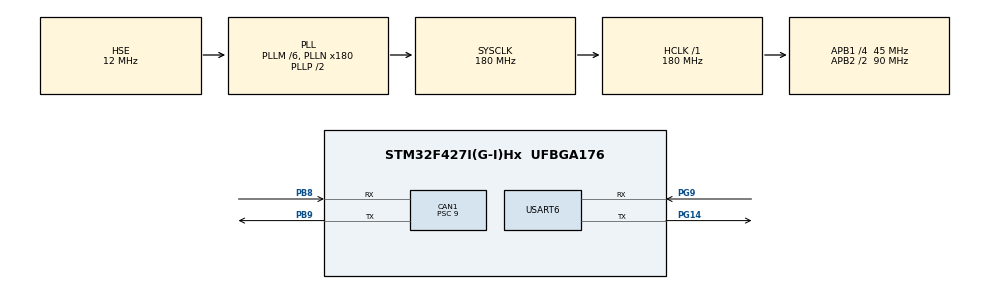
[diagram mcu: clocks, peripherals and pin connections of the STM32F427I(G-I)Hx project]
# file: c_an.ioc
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CAN1.BS1=CAN_BS1_3TQ
CAN1.BS2=CAN_BS2_1TQ
CAN1.CalculateBaudRate=1000000
CAN1.CalculateTimeBit=1000.00
CAN1.CalculateTimeQuantum=200.0
CAN1.Prescaler=9
Mcu.Family=STM32F4
Mcu.Name=STM32F427I(G-I)Hx
Mcu.Package=UFBGA176
NVIC.CAN1_RX0_IRQn=true\:0\:0\:false\:false\:true\:true\:true
NVIC.CAN1_TX_IRQn=true\:0\:0\:false\:false\:true\:true\:true
NVIC.PriorityGroup=NVIC_PRIORITYGROUP_4
PA13.Mode=Serial_Wire
PA13.Signal=SYS_JTMS-SWDIO
PA14.Mode=Serial_Wire
PA14.Signal=SYS_JTCK-SWCLK
PB8.Mode=CAN_Activate
PB8.Signal=CAN1_RX
PB9.Mode=CAN_Activate
PB9.Signal=CAN1_TX
PG14.Mode=Asynchronous
PG14.Signal=USART6_TX
PG9.Mode=Asynchronous
PG9.Signal=USART6_RX
PH0/OSC_IN.Mode=HSE-External-Oscillator
PH0/OSC_IN.Signal=RCC_OSC_IN
PH1/OSC_OUT.Mode=HSE-External-Oscillator
PH1/OSC_OUT.Signal=RCC_OSC_OUT
ProjectManager.HeapSize=0x200
ProjectManager.StackSize=0x400
ProjectManager.TargetToolchain=MDK-ARM V5.27
RCC.48MHZClocksFreq_Value=90000000
RCC.AHBFreq_Value=180000000
RCC.APB1CLKDivider=RCC_HCLK_DIV4
RCC.APB1Freq_Value=45000000
RCC.APB1TimFreq_Value=90000000
RCC.APB2CLKDivider=RCC_HCLK_DIV2
RCC.APB2Freq_Value=90000000
RCC.APB2TimFreq_Value=180000000
RCC.CortexFreq_Value=180000000
RCC.HCLKFreq_Value=180000000
RCC.HSE_VALUE=12000000
RCC.HSI_VALUE=16000000
RCC.LSE_VALUE=32768
RCC.PLLM=6
RCC.PLLN=180
RCC.PLLSourceVirtual=RCC_PLLSOURCE_HSE
RCC.SYSCLKFreq_VALUE=180000000
RCC.SYSCLKSource=RCC_SYSCLKSOURCE_PLLCLK
RCC.VCOOutputFreq_Value=360000000
USART6.VirtualMode=VM_ASYNC
board=custom

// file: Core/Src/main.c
/* USER CODE BEGIN Header */
/**
  ******************************************************************************
  * @file           : main.c
  * @brief          : Main program body
  ******************************************************************************
  * @attention
  *
  * <h2><center>&copy; Copyright (c) 2021 STMicroelectronics.
  * All rights reserved.</center></h2>
  *
  * This software component is licensed by ST under BSD 3-Clause license,
  * the "License"; You may not use this file except in compliance with the
  * License. You may obtain a copy of the License at:
  *                        opensource.org/licenses/BSD-3-Clause
  *
  ******************************************************************************
  */
/* USER CODE END Header */
#include "main.h"
#include "can.h"
#include "usart.h"
#include "gpio.h"

/* USER CODE BEGIN Includes */
#include "stdio.h"
/* USER CODE END Includes */

void SystemClock_Config(void);

int main(void)
{
  /* USER CODE BEGIN 1 */
	CAN_TxHeaderTypeDef Can_Tx;
	CAN_RxHeaderTypeDef Can_Rx;
	uint8_t tdata[8] = {0x00,0x11,0x22,0x33,0x44,0x55,0x66,0x77};
	uint8_t adata[8] = {0};
	uint32_t pTxMailbox = 0;
	Can_Tx.StdId = 0x123;
	Can_Tx.ExtId = 0x123;
	Can_Tx.IDE = 0;
	Can_Tx.RTR = 0;
	Can_Tx.DLC = 8;

	Can_Rx.StdId = 0x321;
	Can_Rx.ExtId = 0x321;
	Can_Rx.IDE = 0;
	Can_Rx.RTR = 0;
	Can_Rx.DLC = 8;
  /* USER CODE END 1 */

  /* MCU Configuration--------------------------------------------------------*/

  /* Reset of all peripherals, Initializes the Flash interface and the Systick. */
  HAL_Init();

  /* Configure the system clock */
  SystemClock_Config();

  /* Initialize all configured peripherals */
  MX_GPIO_Init();
  MX_CAN1_Init();
  MX_USART6_UART_Init();
  /* USER CODE BEGIN 2 */
	HAL_UART_MspInit(&huart6);
	HAL_CAN_MspInit(&hcan1);
	HAL_CAN_Start(&hcan1);
  /* USER CODE END 2 */

  /* Infinite loop */
  while (1)
  {

    /* USER CODE BEGIN 3 */
		HAL_CAN_AddTxMessage(&hcan1, &Can_Tx, tdata, &pTxMailbox);
		HAL_CAN_GetRxMessage(&hcan1, CAN_RX_FIFO0, &Can_Rx, adata);
		HAL_UART_Transmit(&huart6, adata, 8, 1000);
		printf("Rx Data: %02X%02X%02X%02X%02X%02X%02X%02X",adata[0],adata[1],adata[2],adata[3],adata[4],adata[5],adata[6],adata[7]);
		HAL_Delay(500);
  }
  /* USER CODE END 3 */
}

void SystemClock_Config(void)
{
  RCC_OscInitTypeDef RCC_OscInitStruct = {0};
  RCC_ClkInitTypeDef RCC_ClkInitStruct = {0};

  /** Configure the main internal regulator output voltage
  */
  __HAL_RCC_PWR_CLK_ENABLE();
  __HAL_PWR_VOLTAGESCALING_CONFIG(PWR_REGULATOR_VOLTAGE_SCALE1);
  /** Initializes the RCC Oscillators according to the specified parameters
  * in the RCC_OscInitTypeDef structure.
  */
  RCC_OscInitStruct.OscillatorType = RCC_OSCILLATORTYPE_HSE;
  RCC_OscInitStruct.HSEState = RCC_HSE_ON;
  RCC_OscInitStruct.PLL.PLLState = RCC_PLL_ON;
  RCC_OscInitStruct.PLL.PLLSource = RCC_PLLSOURCE_HSE;
  RCC_OscInitStruct.PLL.PLLM = 6;
  RCC_OscInitStruct.PLL.PLLN = 180;
  RCC_OscInitStruct.PLL.PLLP = RCC_PLLP_DIV2;
  RCC_OscInitStruct.PLL.PLLQ = 4;
  if (HAL_RCC_OscConfig(&RCC_OscInitStruct) != HAL_OK)
  {
    Error_Handler();
  }
  /** Activate the Over-Drive mode
  */
  if (HAL_PWREx_EnableOverDrive() != HAL_OK)
  {
    Error_Handler();
  }
  /** Initializes the CPU, AHB and APB buses clocks
  */
  RCC_ClkInitStruct.ClockType = RCC_CLOCKTYPE_HCLK|RCC_CLOCKTYPE_SYSCLK
                              |RCC_CLOCKTYPE_PCLK1|RCC_CLOCKTYPE_PCLK2;
  RCC_ClkInitStruct.SYSCLKSource = RCC_SYSCLKSOURCE_PLLCLK;
  RCC_ClkInitStruct.AHBCLKDivider = RCC_SYSCLK_DIV1;
  RCC_ClkInitStruct.APB1CLKDivider = RCC_HCLK_DIV4;
  RCC_ClkInitStruct.APB2CLKDivider = RCC_HCLK_DIV2;

  if (HAL_RCC_ClockConfig(&RCC_ClkInitStruct, FLASH_LATENCY_5) != HAL_OK)
  {
    Error_Handler();
  }
}

/* USER CODE BEGIN 4 */
int fputc(int ch, FILE *f)
{
	HAL_UART_Transmit(&huart6,(uint8_t *)&ch,1,HAL_MAX_DELAY);
	return ch;
}
/* USER CODE END 4 */

void Error_Handler(void)
{
  __disable_irq();
  while (1)
  {
  }
}

/************************ (C) COPYRIGHT STMicroelectronics *****END OF FILE****/
